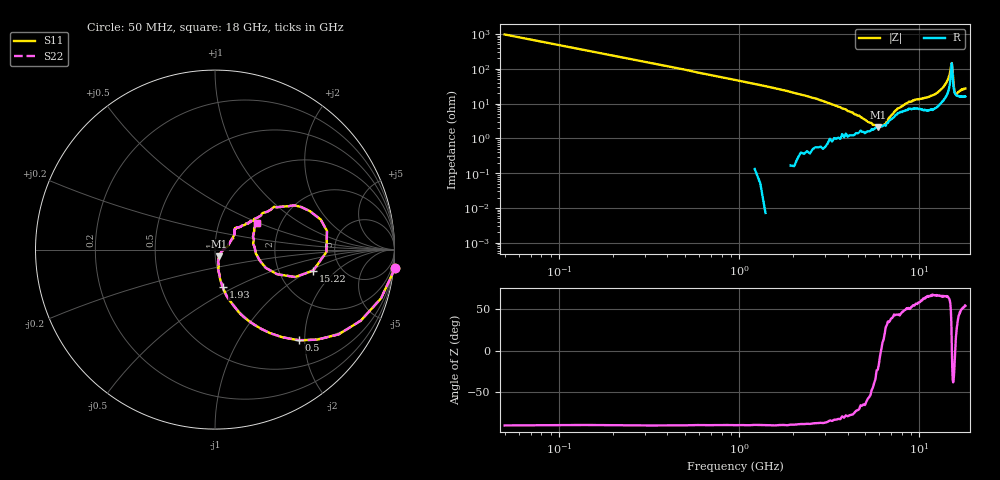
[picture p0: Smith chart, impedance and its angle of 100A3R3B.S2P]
!  American Technical Ceramics  Date:  3/13/98
!  One Norden Lane
!  Huntington Station,  NY.  11746-2102
!  Tel:  (516) 547-5700  Fax:  (516) 547-5748
!  Part Number  100A3R3B
!  Description: Porcelain, High Q, Low ESR
!  Application: Bypass, Coupling, Timing, Feedback
!  Tuning, Impedance Match, Blocking
# GHZ S DB R 50
! Freq  |S11|  S11 Ph  |S21|  S21 Ph  |S12|  S12 Ph  |S22|  S22 Ph
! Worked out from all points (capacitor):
!   201 points, 50 MHz to 18 GHz, reference 50 ohm
!   read as one part in series: C = 3.32 pF near 140 MHz
!   lowest |Z| = 2.14 ohm at 5.88 GHz (marker M1)
!   series resonance near 6.129 GHz, so ESL is about 200 pH
!   S11 on the Smith chart (normalised r, x): 50 MHz: -2, -20; 500 MHz: 0.98, -1.88; 1.93 GHz: 1.00, -0.44; 15.22 GHz: 3.14, -1.07; 18 GHz: 1.52, +0.50
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0.05  0.08 -5.8  -19.62 84.6  -19.62 84.6  0.08 -5.8
0.14  -0.32 -16.4  -11.01 73.5  -11.01 73.5  -0.32 -16.4
0.23  -0.88 -26.0  -7.25 64.2  -7.25 64.2  -0.88 -26.0
0.5  -3.22 -47.1  -2.74 43.2  -2.74 43.2  -3.22 -47.1
1.04  -7.93 -67.4  -0.80 23.1  -0.80 23.1  -7.93 -67.4
1.93  -13.36 -78.2  -0.24 11.9  -0.24 11.9  -13.36 -78.2
3.1  -18.95 -80.5  -0.11 5.5  -0.11 5.5  -18.95 -80.5
5.88  -27.05 -57.8  -0.13 -1.2  -0.13 -1.2  -27.05 -57.8
6.06  -27.59 -51.6  -0.14 -1.7  -0.14 -1.7  -27.59 -51.6
6.69  -28.41 -18.3  -0.16 -2.9  -0.16 -2.9  -28.41 -18.3
7.59  -22.82 14.3  -0.29 -4.3  -0.29 -4.3  -22.82 14.3
9.03  -18.20 35.0  -0.33 -5.3  -0.33 -5.3  -18.20 35.0
12.08  -15.14 44.6  -0.34 -9.7  -0.34 -9.7  -15.14 44.6
14.23  -8.33 35.6  -1.12 -20.1  -1.12 -20.1  -8.33 35.6
14.77  -5.45 26.5  -2.82 -28.1  -2.82 -28.1  -5.45 26.5
15.04  -3.98 9.4  -6.44 -22.6  -6.44 -22.6  -3.98 9.4
15.13  -4.14 -1.2  -7.53 -6.5  -7.53 -6.5  -4.14 -1.2
15.22  -5.04 -12.1  -6.31 9.9  -6.31 9.9  -5.04 -12.1
15.31  -6.52 -18.9  -4.16 15.4  -4.16 15.4  -6.52 -18.9
15.49  -10.44 -19.8  -1.91 10.0  -1.91 10.0  -10.44 -19.8
15.85  -13.35 9.2  -0.96 0.6  -0.96 0.6  -13.35 9.2
18  -11.09 32.7  -0.76 -10.8  -0.76 -10.8  -11.09 32.7
